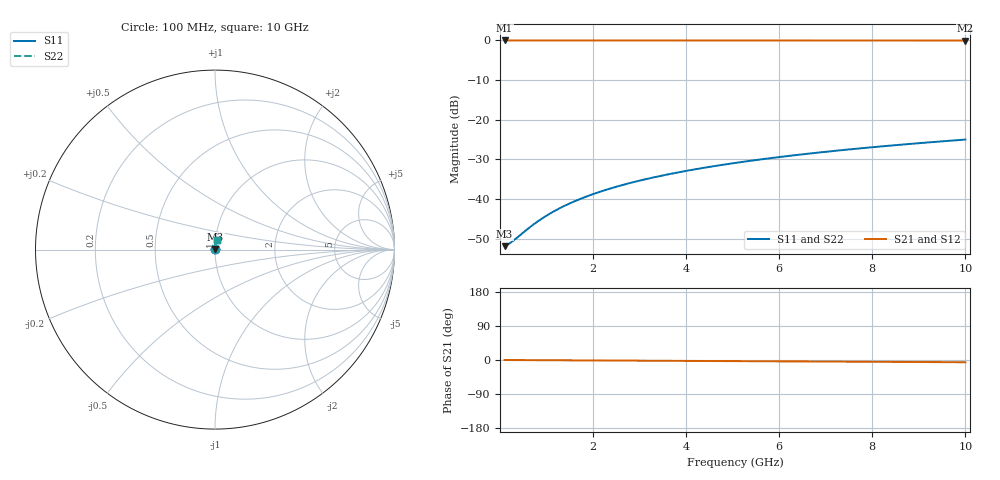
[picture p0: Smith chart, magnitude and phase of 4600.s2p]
# Hz S RI R 50.00
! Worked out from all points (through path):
!   100 points, 100 MHz to 10 GHz, reference 50 ohm
!   highest |S21| = -0.02 dB at 100 MHz (marker M1); lowest = 0.0 dB at 10 GHz (marker M2)
!   lowest |S11| = -51.9 dB at 100 MHz (marker M3), VSWR 1.01, Z = 50.2 + j0.0563 ohm
!   |S11| at or under -10 dB: start of sweep to end of sweep
!   |S22| runs from -51.9 to -25.0 dB; largest |S21 - S12| = 0
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1e8  0.00249 0.00056  0.9975 -0.00103  0.9975 -0.00103  0.00249 0.00056
2e8  0.00251 0.00112  0.9975 -0.00206  0.9975 -0.00206  0.00251 0.00112
3e8  0.00252 0.00168  0.9975 -0.00308  0.9975 -0.00308  0.00252 0.00168
7e8  0.00258 0.00392  0.9974 -0.0072  0.9974 -0.0072  0.00258 0.00392
8e8  0.00259 0.00448  0.9974 -0.00822  0.9974 -0.00822  0.00259 0.00448
1e9  0.00262 0.0056  0.9974 -0.0103  0.9974 -0.0103  0.00262 0.0056
1.2e9  0.00266 0.00672  0.9973 -0.0123  0.9973 -0.0123  0.00266 0.00672
1.4e9  0.0027 0.00784  0.9973 -0.0144  0.9973 -0.0144  0.0027 0.00784
1.6e9  0.00274 0.00896  0.9972 -0.0164  0.9972 -0.0164  0.00274 0.00896
1.8e9  0.00278 0.0101  0.9972 -0.0185  0.9972 -0.0185  0.00278 0.0101
2.1e9  0.00286 0.0118  0.9971 -0.0216  0.9971 -0.0216  0.00286 0.0118
2.5e9  0.00298 0.014  0.9969 -0.0257  0.9969 -0.0257  0.00298 0.014
2.9e9  0.00311 0.0162  0.9968 -0.0298  0.9968 -0.0298  0.00311 0.0162
3.4e9  0.00331 0.019  0.9965 -0.0349  0.9965 -0.0349  0.00331 0.019
3.8e9  0.00348 0.0213  0.9963 -0.039  0.9963 -0.039  0.00348 0.0213
4.2e9  0.00368 0.0235  0.9961 -0.0431  0.9961 -0.0431  0.00368 0.0235
5.1e9  0.00418 0.0285  0.9955 -0.0524  0.9955 -0.0524  0.00418 0.0285
5.9e9  0.0047 0.0329  0.9949 -0.0606  0.9949 -0.0606  0.0047 0.0329
6.7e9  0.0053 0.0374  0.9942 -0.0688  0.9942 -0.0688  0.0053 0.0374
7.5e9  0.00597 0.0418  0.9934 -0.077  0.9934 -0.077  0.00597 0.0418
8.4e9  0.00681 0.0468  0.9924 -0.0861  0.9924 -0.0861  0.00681 0.0468
1e10  0.00853 0.0556  0.9903 -0.1025  0.9903 -0.1025  0.00853 0.0556
